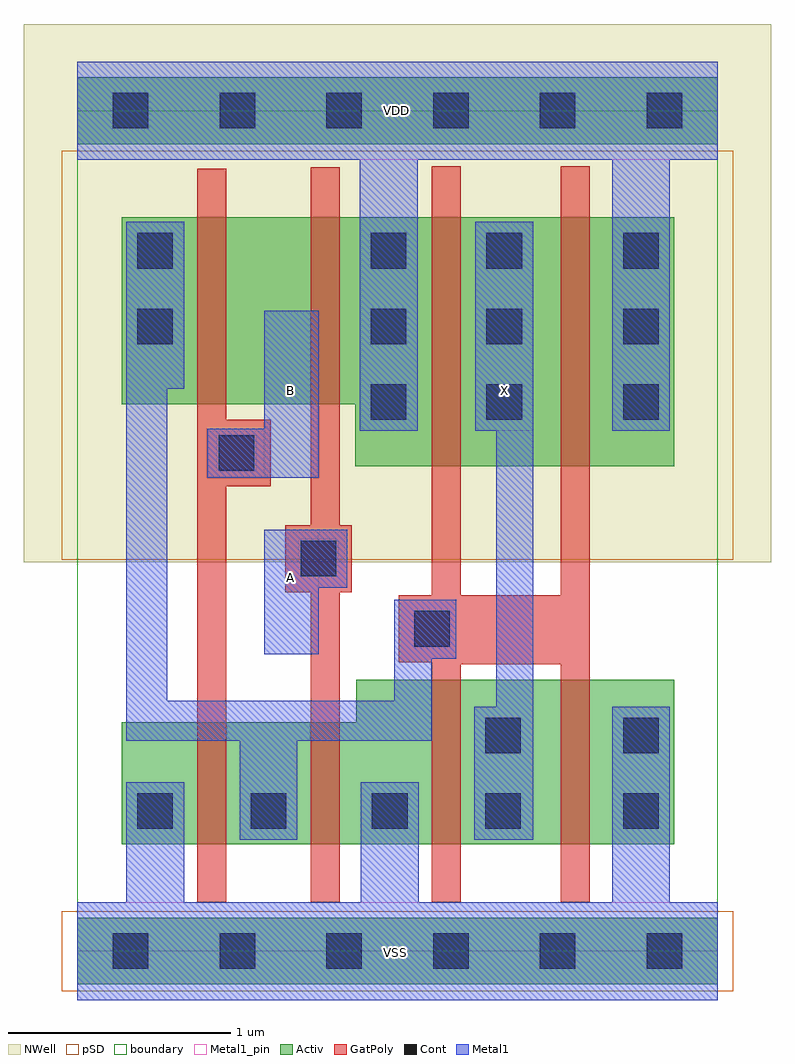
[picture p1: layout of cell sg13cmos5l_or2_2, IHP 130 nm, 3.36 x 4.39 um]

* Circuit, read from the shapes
.subckt sg13cmos5l_or2_2 A B VDD VSS X
XM1 n1 B VSS VSS sg13_lv_nmos w=0.55u l=0.13u
XM2 VSS A n1 VSS sg13_lv_nmos w=0.55u l=0.13u
XM3 X n1 VSS VSS sg13_lv_nmos w=0.74u l=0.13u m=2
XM4 n2 B n1 VDD sg13_lv_pmos w=0.84u l=0.13u
XM5 VDD A n2 VDD sg13_lv_pmos w=0.84u l=0.13u
XM6 X n1 VDD VDD sg13_lv_pmos w=1.12u l=0.13u m=2
.ends

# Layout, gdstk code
import gdstk
lib = gdstk.Library(unit=1e-6, precision=1e-09)
def R(c, l, rs):  # rectangles x0, y0, x1, y1
    for r in rs: c.add(gdstk.rectangle(r[:2], r[2:], *l))
def A(c, l, x, y, w, h, nx, ny, dx, dy):  # array of equal rectangles
    R(c, l, [(x+i*dx, y+j*dy, x+i*dx+w, y+j*dy+h) for i in range(nx) for j in range(ny)])
def P(c, l, *ps):  # polygons
    for p in ps: c.add(gdstk.Polygon(p, *l))
Activ = (1, 0)
GatPoly = (5, 0)
Cont = (6, 0)
Metal1 = (8, 0)
Metal1_pin = (8, 2)
pSD = (14, 0)
NWell = (31, 0)
boundary = (189, 4)

sg13cmos5l_or2_2 = lib.new_cell('sg13cmos5l_or2_2')
R(sg13cmos5l_or2_2, Activ, [(0,-0.15,2.88,0.15), (0,3.63,2.88,3.93)])
P(sg13cmos5l_or2_2, Activ, [(1.25,2.18),(1.25,2.46),(0.2,2.46),(0.2,3.3),(2.685,3.3),(2.685,2.18)],
  [(0.2,0.48),(0.2,1.03),(1.255,1.03),(1.255,1.22),(2.685,1.22),(2.685,0.48)])
P(sg13cmos5l_or2_2, GatPoly, [(1.05,0.22),(1.05,1.615),(0.935,1.615),(0.935,1.915),(1.05,1.915),(1.05,3.525),(1.18,3.525),(1.18,1.915),(1.235,1.915),(1.235,1.615),(1.18,1.615),(1.18,0.22)],
  [(0.54,0.22),(0.54,3.52),(0.67,3.52),(0.67,2.39),(0.87,2.39),(0.87,2.09),(0.67,2.09),(0.67,0.22)],
  [(1.595,0.22),(1.595,1.3),(1.445,1.3),(1.445,1.6),(1.595,1.6),(1.595,3.53),(1.725,3.53),(1.725,1.6),(2.175,1.6),(2.175,3.53),(2.305,3.53),(2.305,0.22),(2.175,0.22),(2.175,1.29),(1.725,1.29),(1.725,0.22)])
A(sg13cmos5l_or2_2, Cont, 0.16, -0.08, 0.16, 0.16, 6, 2, 0.48, 3.78)
A(sg13cmos5l_or2_2, Cont, 1.32, 2.39, 0.16, 0.16, 1, 3, 0, 0.34)
A(sg13cmos5l_or2_2, Cont, 1.84, 2.39, 0.16, 0.16, 1, 3, 0, 0.34)
A(sg13cmos5l_or2_2, Cont, 2.455, 2.39, 0.16, 0.16, 1, 3, 0, 0.34)
R(sg13cmos5l_or2_2, Cont, [(0.27,0.55,0.43,0.71), (0.78,0.55,0.94,0.71), (1.325,0.55,1.485,0.71), (1.835,0.55,1.995,0.71), (2.455,0.55,2.615,0.71), (1.835,0.89,1.995,1.05), (2.455,0.89,2.615,1.05), (1.515,1.37,1.675,1.53), (1.005,1.685,1.165,1.845), (0.635,2.16,0.795,2.32), (0.27,2.73,0.43,2.89), (0.27,3.07,0.43,3.23)])
P(sg13cmos5l_or2_2, Metal1, [(1.785,0.5),(1.785,1.1),(1.885,1.1),(1.885,2.34),(1.79,2.34),(1.79,3.28),(2.05,3.28),(2.05,0.5)],
  [(0,-0.22),(0,0.22),(0.22,0.22),(0.22,0.76),(0.48,0.76),(0.48,0.22),(1.275,0.22),(1.275,0.76),(1.535,0.76),(1.535,0.22),(2.405,0.22),(2.405,1.1),(2.665,1.1),(2.665,0.22),(2.88,0.22),(2.88,-0.22)],
  [(0.84,1.335),(0.84,1.895),(1.215,1.895),(1.215,1.635),(1.085,1.635),(1.085,1.335)],
  [(0.73,0.5),(0.73,0.945),(0.22,0.945),(0.22,3.28),(0.48,3.28),(0.48,2.53),(0.405,2.53),(0.405,1.125),(1.425,1.125),(1.425,1.58),(1.705,1.58),(1.705,1.315),(1.595,1.315),(1.595,0.945),(0.99,0.945),(0.99,0.5)],
  [(0.585,2.13),(0.585,2.35),(0.84,2.35),(0.84,2.88),(1.085,2.88),(1.085,2.13)],
  [(1.27,2.34),(1.27,3.56),(0,3.56),(0,4),(2.88,4),(2.88,3.56),(2.665,3.56),(2.665,2.34),(2.405,2.34),(2.405,3.56),(1.53,3.56),(1.53,2.34)])
R(sg13cmos5l_or2_2, Metal1_pin, [(0,-0.22,2.88,0.22), (0.84,1.335,1.085,1.895), (0.84,2.13,1.085,2.88), (1.79,2.34,2.05,3.28), (0,3.56,2.88,4)])
R(sg13cmos5l_or2_2, pSD, [(-0.07,-0.18,2.95,0.18), (-0.07,1.76,2.95,3.6)])
R(sg13cmos5l_or2_2, NWell, [(-0.24,1.75,3.12,4.17)])
R(sg13cmos5l_or2_2, boundary, [(0,0,2.88,3.78)])
sg13cmos5l_or2_2.add(gdstk.Label('B', (0.96,2.52), layer=8, texttype=25))
sg13cmos5l_or2_2.add(gdstk.Label('VSS', (1.43,-0.005), layer=8, texttype=25))
sg13cmos5l_or2_2.add(gdstk.Label('A', (0.96,1.68), layer=8, texttype=25))
sg13cmos5l_or2_2.add(gdstk.Label('X', (1.92,2.52), layer=8, texttype=25))
sg13cmos5l_or2_2.add(gdstk.Label('VDD', (1.435,3.78), layer=8, texttype=25))

lib.write_gds('sg13cmos5l_or2_2.gds')
